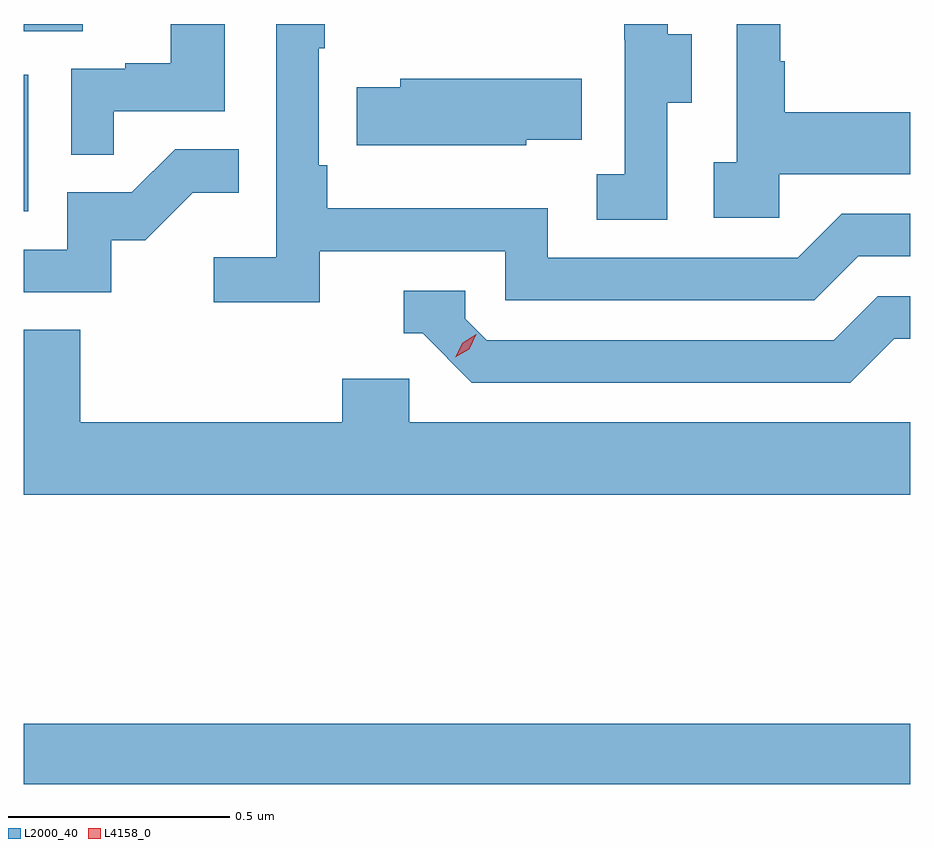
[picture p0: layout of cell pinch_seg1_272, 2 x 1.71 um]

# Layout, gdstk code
import gdstk
lib = gdstk.Library(unit=1e-6, precision=1e-09)
def R(c, l, rs):  # rectangles x0, y0, x1, y1
    for r in rs: c.add(gdstk.rectangle(r[:2], r[2:], *l))
def P(c, l, *ps):  # polygons
    for p in ps: c.add(gdstk.Polygon(p, *l))
L2000_40 = (2000, 40)
L4158_0 = (4158, 0)

pinch_seg1_272 = lib.new_cell('pinch_seg1_272')
R(pinch_seg1_272, L2000_40, [(926.49,572.392,928.49,572.528), (926.49,573.684,926.5,573.991), (926.49,574.09,926.623,574.106)])
P(pinch_seg1_272, L2000_40, [(926.693,573.909),(926.944,573.909),(926.944,574.106),(926.822,574.106),(926.822,574.018),(926.719,574.018),(926.719,574.005),(926.598,574.005),(926.598,573.811),(926.693,573.811)],
  [(927.158,573.594),(927.576,573.594),(927.576,573.483),(928.273,573.483),(928.372,573.582),(928.49,573.582),(928.49,573.678),(928.335,573.678),(928.236,573.579),(927.672,573.579),(927.672,573.691),(927.175,573.691),(927.175,573.787),(927.156,573.787),(927.156,574.051),(927.169,574.051),(927.169,574.106),(927.06,574.106),(927.06,573.58),(926.919,573.58),(926.919,573.478),(927.158,573.478)],
  [(928.194,573.767),(928.49,573.767),(928.49,573.907),(928.207,573.907),(928.207,574.022),(928.197,574.022),(928.197,574.106),(928.098,574.106),(928.098,573.794),(928.047,573.794),(928.047,573.669),(928.194,573.669)],
  [(927.942,573.928),(927.997,573.928),(927.997,574.083),(927.943,574.083),(927.943,574.106),(927.845,574.106),(927.845,574.071),(927.846,574.071),(927.846,573.767),(927.783,573.767),(927.783,573.664),(927.942,573.664)],
  [(927.624,573.845),(927.749,573.845),(927.749,573.982),(927.339,573.982),(927.339,573.963),(927.241,573.963),(927.241,573.833),(927.624,573.833)],
  [(926.688,573.618),(926.764,573.618),(926.871,573.725),(926.975,573.725),(926.975,573.824),(926.832,573.824),(926.734,573.726),(926.589,573.726),(926.589,573.597),(926.49,573.597),(926.49,573.501),(926.688,573.501)],
  [(928.453,573.396),(928.49,573.396),(928.49,573.492),(928.416,573.492),(928.317,573.393),(927.534,573.393),(927.486,573.441),(927.486,573.504),(927.347,573.504),(927.347,573.408),(927.39,573.408),(927.501,573.297),(928.354,573.297)],
  [(928.49,573.208),(927.36,573.208),(927.36,573.306),(927.209,573.306),(927.209,573.208),(926.618,573.208),(926.618,573.416),(926.49,573.416),(926.49,573.044),(928.49,573.044)])
P(pinch_seg1_272, L4158_0, [(927.464,573.354),(927.464,573.354),(927.48,573.387),(927.511,573.406),(927.511,573.406),(927.511,573.406),(927.495,573.373),(927.464,573.354)])

lib.write_gds('pinch_seg1_272.gds')
